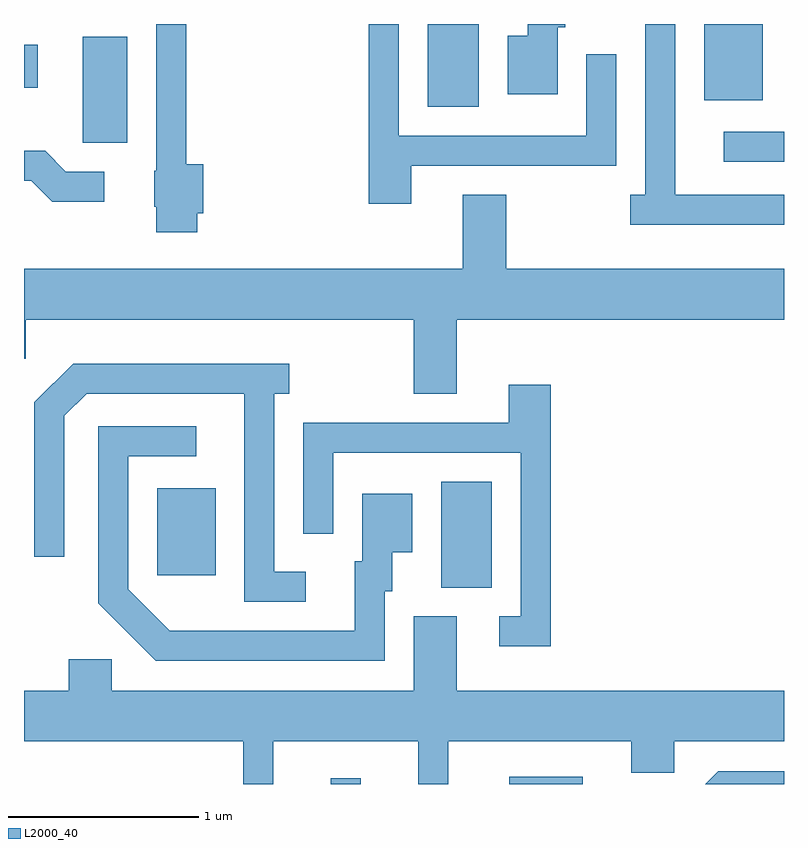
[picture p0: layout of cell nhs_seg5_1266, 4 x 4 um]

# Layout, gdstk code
import gdstk
lib = gdstk.Library(unit=1e-6, precision=1e-09)
def R(c, l, rs):  # rectangles x0, y0, x1, y1
    for r in rs: c.add(gdstk.rectangle(r[:2], r[2:], *l))
def P(c, l, *ps):  # polygons
    for p in ps: c.add(gdstk.Polygon(p, *l))
L2000_40 = (2000, 40)

nhs_seg5_1266 = lib.new_cell('nhs_seg5_1266')
R(nhs_seg5_1266, L2000_40, [(223.226,1512.072,223.384,1512.103), (224.166,1512.072,224.553,1512.109), (223.806,1513.106,224.074,1513.664), (222.311,1513.171,222.619,1513.629), (225.293,1515.346,225.611,1515.504), (221.921,1515.446,222.154,1516.004), (223.736,1515.636,224.004,1516.072), (225.191,1515.671,225.499,1516.072), (221.611,1515.736,221.684,1515.964)])
P(nhs_seg5_1266, L2000_40, [(222.524,1515.076),(222.554,1515.076),(222.554,1515.334),(222.464,1515.334),(222.464,1516.072),(222.306,1516.072),(222.306,1515.3),(222.296,1515.3),(222.296,1515.11),(222.306,1515.11),(222.306,1514.976),(222.524,1514.976)],
  [(223.649,1515.326),(224.729,1515.326),(224.729,1515.913),(224.571,1515.913),(224.571,1515.484),(223.584,1515.484),(223.584,1516.072),(223.426,1516.072),(223.426,1515.126),(223.649,1515.126)],
  [(225.611,1515.174),(225.039,1515.174),(225.039,1516.072),(224.881,1516.072),(224.881,1515.174),(224.803,1515.174),(224.803,1515.016),(225.611,1515.016)],
  [(224.419,1516.056),(224.459,1516.056),(224.459,1516.072),(224.261,1516.072),(224.261,1516.009),(224.156,1516.009),(224.156,1515.701),(224.419,1515.701)],
  [(222.033,1515.294),(221.832,1515.294),(221.722,1515.404),(221.611,1515.404),(221.611,1515.246),(221.649,1515.246),(221.759,1515.136),(222.033,1515.136)],
  [(223.889,1514.516),(225.611,1514.516),(225.611,1514.784),(224.149,1514.784),(224.149,1515.174),(223.921,1515.174),(223.921,1514.784),(221.611,1514.784),(221.611,1514.311),(221.619,1514.311),(221.619,1514.516),(223.661,1514.516),(223.661,1514.126),(223.889,1514.126)],
  [(223.093,1513.189),(222.929,1513.189),(222.929,1514.126),(223.008,1514.126),(223.008,1514.284),(221.869,1514.284),(221.666,1514.082),(221.666,1513.268),(221.824,1513.268),(221.824,1514.009),(221.942,1514.126),(222.771,1514.126),(222.771,1513.031),(223.093,1513.031)],
  [(224.384,1514.174),(224.161,1514.174),(224.161,1513.974),(223.081,1513.974),(223.081,1513.388),(223.239,1513.388),(223.239,1513.816),(224.226,1513.816),(224.226,1512.954),(224.113,1512.954),(224.113,1512.796),(224.384,1512.796)],
  [(223.509,1513.086),(223.549,1513.086),(223.549,1513.291),(223.654,1513.291),(223.654,1513.599),(223.391,1513.599),(223.391,1513.244),(223.351,1513.244),(223.351,1512.879),(222.377,1512.879),(222.159,1513.097),(222.159,1513.796),(222.518,1513.796),(222.518,1513.954),(222.001,1513.954),(222.001,1513.024),(222.304,1512.721),(223.509,1512.721)],
  [(222.924,1512.296),(223.686,1512.296),(223.686,1512.072),(223.844,1512.072),(223.844,1512.296),(224.806,1512.296),(224.806,1512.131),(225.034,1512.131),(225.034,1512.296),(225.611,1512.296),(225.611,1512.564),(223.889,1512.564),(223.889,1512.954),(223.661,1512.954),(223.661,1512.564),(222.074,1512.564),(222.074,1512.729),(221.846,1512.729),(221.846,1512.564),(221.611,1512.564),(221.611,1512.296),(222.766,1512.296),(222.766,1512.072),(222.924,1512.072)],
  [(225.611,1512.139),(225.264,1512.139),(225.197,1512.072),(225.611,1512.072)])

lib.write_gds('nhs_seg5_1266.gds')
